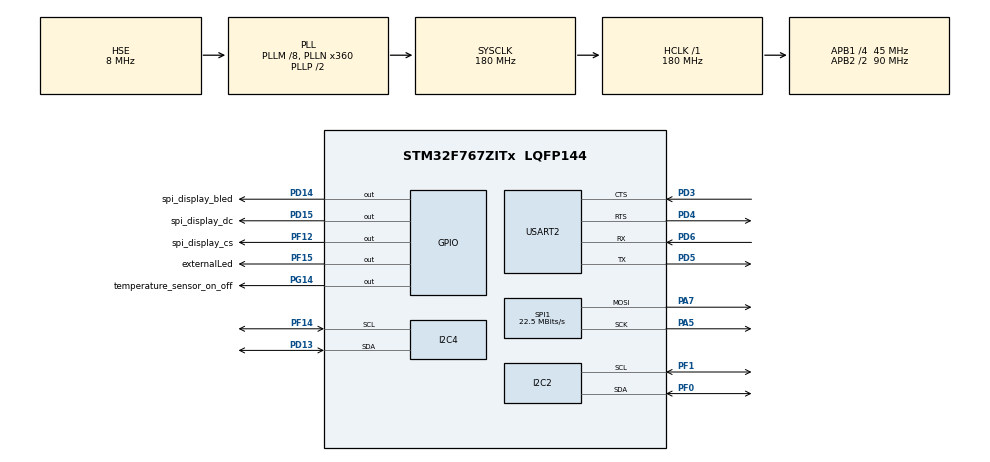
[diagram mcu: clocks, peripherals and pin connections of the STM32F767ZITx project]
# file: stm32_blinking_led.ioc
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CORTEX_M7.default_mode_Activation=1
Dma.Request0=USART2_RX
Dma.Request1=USART2_TX
Dma.USART2_RX.0.Direction=DMA_PERIPH_TO_MEMORY
Dma.USART2_RX.0.FIFOMode=DMA_FIFOMODE_DISABLE
Dma.USART2_RX.0.Instance=DMA1_Stream5
Dma.USART2_RX.0.MemDataAlignment=DMA_MDATAALIGN_BYTE
Dma.USART2_RX.0.MemInc=DMA_MINC_ENABLE
Dma.USART2_RX.0.Mode=DMA_CIRCULAR
Dma.USART2_RX.0.PeriphDataAlignment=DMA_PDATAALIGN_BYTE
Dma.USART2_RX.0.PeriphInc=DMA_PINC_DISABLE
Dma.USART2_RX.0.Priority=DMA_PRIORITY_MEDIUM
Dma.USART2_TX.1.Direction=DMA_MEMORY_TO_PERIPH
Dma.USART2_TX.1.FIFOMode=DMA_FIFOMODE_DISABLE
Dma.USART2_TX.1.Instance=DMA1_Stream6
Dma.USART2_TX.1.MemDataAlignment=DMA_MDATAALIGN_BYTE
Dma.USART2_TX.1.MemInc=DMA_MINC_ENABLE
Dma.USART2_TX.1.Mode=DMA_NORMAL
Dma.USART2_TX.1.PeriphDataAlignment=DMA_PDATAALIGN_BYTE
Dma.USART2_TX.1.PeriphInc=DMA_PINC_DISABLE
Dma.USART2_TX.1.Priority=DMA_PRIORITY_MEDIUM
FREERTOS.Tasks01=defaultTask,24,512,StartDefaultTask,Default,NULL,Dynamic,NULL,NULL
FREERTOS.configCHECK_FOR_STACK_OVERFLOW=2
FREERTOS.configMINIMAL_STACK_SIZE=128
FREERTOS.configTOTAL_HEAP_SIZE=65536
FREERTOS.configUSE_MALLOC_FAILED_HOOK=1
FREERTOS.configUSE_NEWLIB_REENTRANT=0
FREERTOS.copyHeapFile=1
I2C2.OwnAddress=0x38
I2C2.Timing=0xC0000E12
I2C4.Timing=0xC0000E12
Mcu.Family=STM32F7
Mcu.Name=STM32F767ZITx
Mcu.Package=LQFP144
NVIC.DMA1_Stream5_IRQn=true\:5\:0\:false\:false\:true\:true\:false\:true\:true
NVIC.DMA1_Stream6_IRQn=true\:5\:0\:false\:false\:true\:true\:false\:true\:true
NVIC.PriorityGroup=NVIC_PRIORITYGROUP_4
NVIC.TIM6_DAC_IRQn=true\:15\:0\:false\:false\:true\:false\:false\:true\:true
NVIC.TimeBase=TIM6_DAC_IRQn
NVIC.TimeBaseIP=TIM6
NVIC.USART2_IRQn=true\:5\:0\:false\:false\:true\:true\:true\:true\:true
PA5.Mode=TX_Only_Simplex_Unidirect_Master
PA5.Signal=SPI1_SCK
PA7.Mode=TX_Only_Simplex_Unidirect_Master
PA7.Signal=SPI1_MOSI
PC14/OSC32_IN.Mode=LSE-External-Oscillator
PC14/OSC32_IN.Signal=RCC_OSC32_IN
PC15/OSC32_OUT.Mode=LSE-External-Oscillator
PC15/OSC32_OUT.Signal=RCC_OSC32_OUT
PD13.Mode=I2C
PD13.Signal=I2C4_SDA
PD14.GPIO_Label=spi_display_bled
PD14.Signal=GPIO_Output
PD15.GPIO_Label=spi_display_dc
PD15.Signal=GPIO_Output
PD3.Mode=CTS_RTS
PD3.Signal=USART2_CTS
PD4.Mode=CTS_RTS
PD4.Signal=USART2_RTS
PD5.Mode=Asynchronous
PD5.Signal=USART2_TX
PD6.Mode=Asynchronous
PD6.Signal=USART2_RX
PF0.Mode=I2C
PF0.Signal=I2C2_SDA
PF1.Mode=I2C
PF1.Signal=I2C2_SCL
PF12.GPIO_Label=spi_display_cs
PF12.Signal=GPIO_Output
PF14.Mode=I2C
PF14.Signal=I2C4_SCL
PF15.GPIO_Label=externalLed
PF15.Signal=GPIO_Output
PG14.GPIO_Label=temperature_sensor_on_off
PG14.Signal=GPIO_Output
PH0/OSC_IN.Mode=HSE-External-Oscillator
PH0/OSC_IN.Signal=RCC_OSC_IN
PH1/OSC_OUT.Mode=HSE-External-Oscillator
PH1/OSC_OUT.Signal=RCC_OSC_OUT
ProjectManager.HeapSize=0x200
ProjectManager.StackSize=0x400
ProjectManager.TargetToolchain=CMake
RCC.AHBFreq_Value=180000000
RCC.APB1CLKDivider=RCC_HCLK_DIV4
RCC.APB1Freq_Value=45000000
RCC.APB1TimFreq_Value=90000000
RCC.APB2CLKDivider=RCC_HCLK_DIV2
RCC.APB2Freq_Value=90000000
RCC.APB2TimFreq_Value=180000000
RCC.CortexFreq_Value=180000000
RCC.HCLKFreq_Value=180000000
RCC.HSE_VALUE=8000000
RCC.HSI_VALUE=16000000
RCC.PLLM=8
RCC.PLLN=360
RCC.PLLSourceVirtual=RCC_PLLSOURCE_HSE
RCC.RTCClockSelection=RCC_RTCCLKSOURCE_LSE
RCC.SYSCLKFreq_VALUE=180000000
RCC.SYSCLKSource=RCC_SYSCLKSOURCE_PLLCLK
RCC.USBFreq_Value=180000000
RCC.VCOOutputFreq_Value=360000000
SPI1.BaudRatePrescaler=SPI_BAUDRATEPRESCALER_4
SPI1.CLKPolarity=SPI_POLARITY_LOW
SPI1.CalculateBaudRate=22.5 MBits/s
SPI1.DataSize=SPI_DATASIZE_8BIT
SPI1.Direction=SPI_DIRECTION_2LINES
SPI1.Mode=SPI_MODE_MASTER
SPI1.VirtualType=VM_MASTER
USART2.VirtualMode-Asynchronous=VM_ASYNC
VP_FREERTOS_VS_CMSIS_V2.Mode=CMSIS_V2
VP_RTC_VS_RTC_Activate.Mode=RTC_Enabled
VP_SYS_VS_tim6.Mode=TIM6
board=custom

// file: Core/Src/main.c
/* USER CODE BEGIN Header */
/**
  ******************************************************************************
  * @file           : main.c
  * @brief          : Main program body
  ******************************************************************************
  * @attention
  *
  * Copyright (c) 2025 STMicroelectronics.
  * All rights reserved.
  *
  * This software is licensed under terms that can be found in the LICENSE file
  * in the root directory of this software component.
  * If no LICENSE file comes with this software, it is provided AS-IS.
  *
  ******************************************************************************
  */
/* USER CODE END Header */
#include "main.h"
#include "cmsis_os.h"

/* USER CODE BEGIN Includes */
#include "app_main.h"
#include "os_wrapper.h"
#include "portable_log.h"
#include "SEGGER_SYSVIEW.h"
#include "SEGGER_RTT.h"
/* USER CODE END Includes */

I2C_HandleTypeDef hi2c2;
I2C_HandleTypeDef hi2c4;

RTC_HandleTypeDef hrtc;

SPI_HandleTypeDef hspi1;

UART_HandleTypeDef huart2;
DMA_HandleTypeDef hdma_usart2_rx;
DMA_HandleTypeDef hdma_usart2_tx;

/* Definitions for defaultTask */
osThreadId_t defaultTaskHandle;
const osThreadAttr_t defaultTask_attributes = {
  .name = "defaultTask",
  .stack_size = 512 * 4,  // 2KB - sufficient with optimized logging (no stack buffers)
  .priority = (osPriority_t) osPriorityNormal,
};
/* USER CODE BEGIN PV */
static const char *TAG = "MAIN";
/* USER CODE END PV */

void SystemClock_Config(void);
static void MPU_Config(void);
static void MX_GPIO_Init(void);
static void MX_DMA_Init(void);
static void MX_I2C2_Init(void);
static void MX_SPI1_Init(void);
static void MX_I2C4_Init(void);
static void MX_RTC_Init(void);
static void MX_USART2_UART_Init(void);
void StartDefaultTask(void *argument);

int main(void)
{

  /* MPU Configuration--------------------------------------------------------*/
  MPU_Config();

  /* MCU Configuration--------------------------------------------------------*/

  /* Reset of all peripherals, Initializes the Flash interface and the Systick. */
  HAL_Init();

  /* Configure the system clock */
  SystemClock_Config();

  /* USER CODE BEGIN SysInit */
  LOG_I(TAG, "=== Clock configured to 180MHz (8MHz HSE) ===\n");

  // CRITICAL: Reinitialize HAL tick timer after clock config
  // HAL_Init() configured TIM6 at 16MHz, but now we're at 180MHz
  HAL_InitTick(TICK_INT_PRIORITY);

  LOG_I(TAG, "HAL tick reinitialized successfully\n");

  // Enable DWT cycle counter for SystemView timestamps
  CoreDebug->DEMCR |= CoreDebug_DEMCR_TRCENA_Msk;
  DWT->CYCCNT = 0;
  DWT->CTRL |= DWT_CTRL_CYCCNTENA_Msk;
  /* USER CODE END SysInit */

  /* Initialize all configured peripherals */
  MX_GPIO_Init();
  MX_DMA_Init();
  MX_I2C2_Init();
  MX_SPI1_Init();
  MX_I2C4_Init();
  MX_RTC_Init();
  MX_USART2_UART_Init();
  /* USER CODE BEGIN 2 */
  LOG_I(TAG, "\n=== STM32F767 Application Starting ===\n");
  LOG_I(TAG, "System Clock: %lu Hz\n", HAL_RCC_GetSysClockFreq());
  LOG_I(TAG, "HAL Tick: %lu ms\n", HAL_GetTick());

  // Check reset reason
  if (__HAL_RCC_GET_FLAG(RCC_FLAG_IWDGRST)) {
    LOG_I(TAG, "RESET: Independent Watchdog\n");
  }
  if (__HAL_RCC_GET_FLAG(RCC_FLAG_WWDGRST)) {
    LOG_I(TAG, "RESET: Window Watchdog\n");
  }
  if (__HAL_RCC_GET_FLAG(RCC_FLAG_SFTRST)) {
    LOG_I(TAG, "RESET: Software Reset\n");
  }
  if (__HAL_RCC_GET_FLAG(RCC_FLAG_PORRST)) {
    LOG_I(TAG, "RESET: Power-On Reset\n");
  }
  if (__HAL_RCC_GET_FLAG(RCC_FLAG_PINRST)) {
    LOG_I(TAG, "RESET: External Pin\n");
  }
  __HAL_RCC_CLEAR_RESET_FLAGS();

  // Initialize SEGGER SystemView configuration (recording starts after scheduler)
#if USE_SEGGER_SYSTEMVIEW
  SEGGER_SYSVIEW_Conf();
  LOG_I(TAG, "SEGGER SystemView configured (will start after scheduler init)\n");
#else
  LOG_I(TAG, "SEGGER SystemView: Disabled\n");
#endif

  /* USER CODE END 2 */

  /* Init scheduler */
  osKernelInitialize();

  /* Create the thread(s) */
  /* creation of defaultTask */
  defaultTaskHandle = osThreadNew(StartDefaultTask, NULL, &defaultTask_attributes);

  /* Start scheduler */
  osKernelStart();

  /* We should never get here as control is now taken by the scheduler */

  /* Infinite loop */
  /* USER CODE BEGIN WHILE */
  while (1)
  {
    /* This code will never execute - scheduler has control */
    /* USER CODE END WHILE */

  }
}

void SystemClock_Config(void)
{
  RCC_OscInitTypeDef RCC_OscInitStruct = {0};
  RCC_ClkInitTypeDef RCC_ClkInitStruct = {0};

  /** Configure LSE Drive Capability
  */
  HAL_PWR_EnableBkUpAccess();
  __HAL_RCC_LSEDRIVE_CONFIG(RCC_LSEDRIVE_LOW);

  /** Configure the main internal regulator output voltage
  */
  __HAL_RCC_PWR_CLK_ENABLE();
  __HAL_PWR_VOLTAGESCALING_CONFIG(PWR_REGULATOR_VOLTAGE_SCALE1);

  /** Initializes the RCC Oscillators according to the specified parameters
  * in the RCC_OscInitTypeDef structure.
  */
  RCC_OscInitStruct.OscillatorType = RCC_OSCILLATORTYPE_HSE|RCC_OSCILLATORTYPE_LSE;
  RCC_OscInitStruct.HSEState = RCC_HSE_ON;
  RCC_OscInitStruct.LSEState = RCC_LSE_ON;
  RCC_OscInitStruct.PLL.PLLState = RCC_PLL_ON;
  RCC_OscInitStruct.PLL.PLLSource = RCC_PLLSOURCE_HSE;
  RCC_OscInitStruct.PLL.PLLM = 8;
  RCC_OscInitStruct.PLL.PLLN = 360;
  RCC_OscInitStruct.PLL.PLLP = RCC_PLLP_DIV2;
  RCC_OscInitStruct.PLL.PLLQ = 2;
  RCC_OscInitStruct.PLL.PLLR = 2;
  if (HAL_RCC_OscConfig(&RCC_OscInitStruct) != HAL_OK)
  {
    Error_Handler();
  }

  /** Initializes the CPU, AHB and APB buses clocks
  */
  RCC_ClkInitStruct.ClockType = RCC_CLOCKTYPE_HCLK|RCC_CLOCKTYPE_SYSCLK
                              |RCC_CLOCKTYPE_PCLK1|RCC_CLOCKTYPE_PCLK2;
  RCC_ClkInitStruct.SYSCLKSource = RCC_SYSCLKSOURCE_PLLCLK;
  RCC_ClkInitStruct.AHBCLKDivider = RCC_SYSCLK_DIV1;
  RCC_ClkInitStruct.APB1CLKDivider = RCC_HCLK_DIV4;
  RCC_ClkInitStruct.APB2CLKDivider = RCC_HCLK_DIV2;

  if (HAL_RCC_ClockConfig(&RCC_ClkInitStruct, FLASH_LATENCY_5) != HAL_OK)
  {
    Error_Handler();
  }
}

static void MX_I2C2_Init(void)
{

  hi2c2.Instance = I2C2;
  hi2c2.Init.Timing = 0xC0000E12;
  hi2c2.Init.OwnAddress1 = 112;
  hi2c2.Init.AddressingMode = I2C_ADDRESSINGMODE_7BIT;
  hi2c2.Init.DualAddressMode = I2C_DUALADDRESS_DISABLE;
  hi2c2.Init.OwnAddress2 = 0;
  hi2c2.Init.OwnAddress2Masks = I2C_OA2_NOMASK;
  hi2c2.Init.GeneralCallMode = I2C_GENERALCALL_DISABLE;
  hi2c2.Init.NoStretchMode = I2C_NOSTRETCH_DISABLE;
  if (HAL_I2C_Init(&hi2c2) != HAL_OK)
  {
    Error_Handler();
  }

  /** Configure Analogue filter
  */
  if (HAL_I2CEx_ConfigAnalogFilter(&hi2c2, I2C_ANALOGFILTER_ENABLE) != HAL_OK)
  {
    Error_Handler();
  }

  /** Configure Digital filter
  */
  if (HAL_I2CEx_ConfigDigitalFilter(&hi2c2, 0) != HAL_OK)
  {
    Error_Handler();
  }

}

static void MX_I2C4_Init(void)
{

  hi2c4.Instance = I2C4;
  hi2c4.Init.Timing = 0xC0000E12;
  hi2c4.Init.OwnAddress1 = 0;
  hi2c4.Init.AddressingMode = I2C_ADDRESSINGMODE_7BIT;
  hi2c4.Init.DualAddressMode = I2C_DUALADDRESS_DISABLE;
  hi2c4.Init.OwnAddress2 = 0;
  hi2c4.Init.OwnAddress2Masks = I2C_OA2_NOMASK;
  hi2c4.Init.GeneralCallMode = I2C_GENERALCALL_DISABLE;
  hi2c4.Init.NoStretchMode = I2C_NOSTRETCH_DISABLE;
  if (HAL_I2C_Init(&hi2c4) != HAL_OK)
  {
    Error_Handler();
  }

  /** Configure Analogue filter
  */
  if (HAL_I2CEx_ConfigAnalogFilter(&hi2c4, I2C_ANALOGFILTER_ENABLE) != HAL_OK)
  {
    Error_Handler();
  }

  /** Configure Digital filter
  */
  if (HAL_I2CEx_ConfigDigitalFilter(&hi2c4, 0) != HAL_OK)
  {
    Error_Handler();
  }

}

static void MX_RTC_Init(void)
{

  /** Initialize RTC Only
  */
  hrtc.Instance = RTC;
  hrtc.Init.HourFormat = RTC_HOURFORMAT_24;
  hrtc.Init.AsynchPrediv = 127;
  hrtc.Init.SynchPrediv = 255;
  hrtc.Init.OutPut = RTC_OUTPUT_DISABLE;
  hrtc.Init.OutPutPolarity = RTC_OUTPUT_POLARITY_HIGH;
  hrtc.Init.OutPutType = RTC_OUTPUT_TYPE_OPENDRAIN;
  if (HAL_RTC_Init(&hrtc) != HAL_OK)
  {
    Error_Handler();
  }

}

static void MX_SPI1_Init(void)
{

  /* SPI1 parameter configuration*/
  hspi1.Instance = SPI1;
  hspi1.Init.Mode = SPI_MODE_MASTER;
  hspi1.Init.Direction = SPI_DIRECTION_2LINES;
  hspi1.Init.DataSize = SPI_DATASIZE_8BIT;
  hspi1.Init.CLKPolarity = SPI_POLARITY_LOW;
  hspi1.Init.CLKPhase = SPI_PHASE_1EDGE;
  hspi1.Init.NSS = SPI_NSS_SOFT;
  hspi1.Init.BaudRatePrescaler = SPI_BAUDRATEPRESCALER_4;
  hspi1.Init.FirstBit = SPI_FIRSTBIT_MSB;
  hspi1.Init.TIMode = SPI_TIMODE_DISABLE;
  hspi1.Init.CRCCalculation = SPI_CRCCALCULATION_DISABLE;
  hspi1.Init.CRCPolynomial = 7;
  hspi1.Init.CRCLength = SPI_CRC_LENGTH_DATASIZE;
  hspi1.Init.NSSPMode = SPI_NSS_PULSE_ENABLE;
  if (HAL_SPI_Init(&hspi1) != HAL_OK)
  {
    Error_Handler();
  }

}

static void MX_USART2_UART_Init(void)
{

  huart2.Instance = USART2;
  huart2.Init.BaudRate = 115200;
  huart2.Init.WordLength = UART_WORDLENGTH_8B;
  huart2.Init.StopBits = UART_STOPBITS_1;
  huart2.Init.Parity = UART_PARITY_NONE;
  huart2.Init.Mode = UART_MODE_TX_RX;
  huart2.Init.HwFlowCtl = UART_HWCONTROL_RTS_CTS;
  huart2.Init.OverSampling = UART_OVERSAMPLING_16;
  huart2.Init.OneBitSampling = UART_ONE_BIT_SAMPLE_DISABLE;
  huart2.AdvancedInit.AdvFeatureInit = UART_ADVFEATURE_NO_INIT;
  if (HAL_UART_Init(&huart2) != HAL_OK)
  {
    Error_Handler();
  }

}

static void MX_DMA_Init(void)
{

  /* DMA controller clock enable */
  __HAL_RCC_DMA1_CLK_ENABLE();

  /* DMA interrupt init */
  /* DMA1_Stream5_IRQn interrupt configuration */
  HAL_NVIC_SetPriority(DMA1_Stream5_IRQn, 5, 0);
  HAL_NVIC_EnableIRQ(DMA1_Stream5_IRQn);
  /* DMA1_Stream6_IRQn interrupt configuration */
  HAL_NVIC_SetPriority(DMA1_Stream6_IRQn, 5, 0);
  HAL_NVIC_EnableIRQ(DMA1_Stream6_IRQn);

}

static void MX_GPIO_Init(void)
{
  GPIO_InitTypeDef GPIO_InitStruct = {0};

  /* GPIO Ports Clock Enable */
  __HAL_RCC_GPIOC_CLK_ENABLE();
  __HAL_RCC_GPIOF_CLK_ENABLE();
  __HAL_RCC_GPIOH_CLK_ENABLE();
  __HAL_RCC_GPIOA_CLK_ENABLE();
  __HAL_RCC_GPIOD_CLK_ENABLE();
  __HAL_RCC_GPIOG_CLK_ENABLE();

  /*Configure GPIO pin Output Level */
  HAL_GPIO_WritePin(GPIOF, spi_display_cs_Pin|externalLed_Pin, GPIO_PIN_RESET);

  /*Configure GPIO pin Output Level */
  HAL_GPIO_WritePin(GPIOD, spi_display_bled_Pin|spi_display_dc_Pin, GPIO_PIN_RESET);

  /*Configure GPIO pin Output Level */
  HAL_GPIO_WritePin(temperature_sensor_on_off_GPIO_Port, temperature_sensor_on_off_Pin, GPIO_PIN_RESET);

  /*Configure GPIO pins : spi_display_cs_Pin externalLed_Pin */
  GPIO_InitStruct.Pin = spi_display_cs_Pin|externalLed_Pin;
  GPIO_InitStruct.Mode = GPIO_MODE_OUTPUT_PP;
  GPIO_InitStruct.Pull = GPIO_NOPULL;
  GPIO_InitStruct.Speed = GPIO_SPEED_FREQ_LOW;
  HAL_GPIO_Init(GPIOF, &GPIO_InitStruct);

  /*Configure GPIO pins : spi_display_bled_Pin spi_display_dc_Pin */
  GPIO_InitStruct.Pin = spi_display_bled_Pin|spi_display_dc_Pin;
  GPIO_InitStruct.Mode = GPIO_MODE_OUTPUT_PP;
  GPIO_InitStruct.Pull = GPIO_NOPULL;
  GPIO_InitStruct.Speed = GPIO_SPEED_FREQ_LOW;
  HAL_GPIO_Init(GPIOD, &GPIO_InitStruct);

  /*Configure GPIO pin : temperature_sensor_on_off_Pin */
  GPIO_InitStruct.Pin = temperature_sensor_on_off_Pin;
  GPIO_InitStruct.Mode = GPIO_MODE_OUTPUT_PP;
  GPIO_InitStruct.Pull = GPIO_NOPULL;
  GPIO_InitStruct.Speed = GPIO_SPEED_FREQ_LOW;
  HAL_GPIO_Init(temperature_sensor_on_off_GPIO_Port, &GPIO_InitStruct);

}

void StartDefaultTask(void *argument)
{
  /* USER CODE BEGIN 5 */
  /* Start SystemView recording now that scheduler is running */
#if USE_SEGGER_SYSTEMVIEW
  static uint8_t sysview_started = 0;
  if (!sysview_started) {
    SEGGER_SYSVIEW_Start();
    LOG_I(TAG, "SEGGER SystemView recording started\n");
    LOG_I(TAG, "SystemView State: %d\n", SEGGER_SYSVIEW_IsStarted());
    sysview_started = 1;
  }
#endif

  //LOG_I(TAG, "Scheduler started, defaultTask running\n");

  // IMPORTANT: Must initialize OS wrapper and application AFTER osKernelStart()
  // because services_init() initializes hardware (I2C, SPI, sensors) that use
  // HAL_GetTick() for timeouts. HAL_GetTick() only works after osKernelStart()
  // since osKernelInitialize() reconfigures the SysTick timer.
  os_init();
  //LOG_I(TAG, "OS wrapper initialized\n");

  app_init();
  LOG_I(TAG, "Application initialized successfully\n");

  /* Infinite loop */
  for(;;)
  {
    /* Run your application logic here */
    app_run();
    /* Small delay to yield to other tasks */
    osDelay(10);
  }
  /* USER CODE END 5 */
}

 /* MPU Configuration */

void MPU_Config(void)
{
  MPU_Region_InitTypeDef MPU_InitStruct = {0};

  /* Disables the MPU */
  HAL_MPU_Disable();

  /** Initializes and configures the Region and the memory to be protected
  */
  MPU_InitStruct.Enable = MPU_REGION_ENABLE;
  MPU_InitStruct.Number = MPU_REGION_NUMBER0;
  MPU_InitStruct.BaseAddress = 0x0;
  MPU_InitStruct.Size = MPU_REGION_SIZE_4GB;
  MPU_InitStruct.SubRegionDisable = 0x87;
  MPU_InitStruct.TypeExtField = MPU_TEX_LEVEL0;
  MPU_InitStruct.AccessPermission = MPU_REGION_NO_ACCESS;
  MPU_InitStruct.DisableExec = MPU_INSTRUCTION_ACCESS_DISABLE;
  MPU_InitStruct.IsShareable = MPU_ACCESS_SHAREABLE;
  MPU_InitStruct.IsCacheable = MPU_ACCESS_NOT_CACHEABLE;
  MPU_InitStruct.IsBufferable = MPU_ACCESS_NOT_BUFFERABLE;

  HAL_MPU_ConfigRegion(&MPU_InitStruct);
  /* Enables the MPU */
  HAL_MPU_Enable(MPU_PRIVILEGED_DEFAULT);

}

void HAL_TIM_PeriodElapsedCallback(TIM_HandleTypeDef *htim)
{
  if (htim->Instance == TIM6)
  {
    HAL_IncTick();
  }
}

void Error_Handler(void)
{
  __disable_irq();
  while (1)
  {
  }
}

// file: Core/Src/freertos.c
/* USER CODE BEGIN Header */
/**
  ******************************************************************************
  * File Name          : freertos.c
  * Description        : Code for freertos applications
  ******************************************************************************
  * @attention
  *
  * Copyright (c) 2026 STMicroelectronics.
  * All rights reserved.
  *
  * This software is licensed under terms that can be found in the LICENSE file
  * in the root directory of this software component.
  * If no LICENSE file comes with this software, it is provided AS-IS.
  *
  ******************************************************************************
  */
/* USER CODE END Header */

#include "FreeRTOS.h"
#include "task.h"
#include "main.h"

/* USER CODE BEGIN Includes */
#include "portable_log.h"
/* USER CODE END Includes */

/* Hook prototypes */
void vApplicationStackOverflowHook(xTaskHandle xTask, signed char *pcTaskName);
void vApplicationMallocFailedHook(void);

/* USER CODE BEGIN 4 */
static const char *TAG = "FREERTOS";

void vApplicationStackOverflowHook(xTaskHandle xTask, signed char *pcTaskName)
{
   (void)xTask;
   LOG_E(TAG, "STACK OVERFLOW in task: %s", pcTaskName);

   // Also log via RTT for SystemView debugging
   extern int SEGGER_RTT_printf(unsigned BufferIndex, const char * sFormat, ...);
   SEGGER_RTT_printf(0, "\n!!! STACK OVERFLOW in task: %s !!!\n", pcTaskName);

   __disable_irq();
   while (1) {
      // Halt here for debugger
   }
}
/* USER CODE END 4 */

/* USER CODE BEGIN 5 */
void vApplicationMallocFailedHook(void)
{
   LOG_E(TAG, "MALLOC FAILED - heap exhausted (free: %lu bytes)",
         (unsigned long)xPortGetFreeHeapSize());
   __disable_irq();
   while (1) {
      // Halt here for debugger
   }
}
/* USER CODE END 5 */
